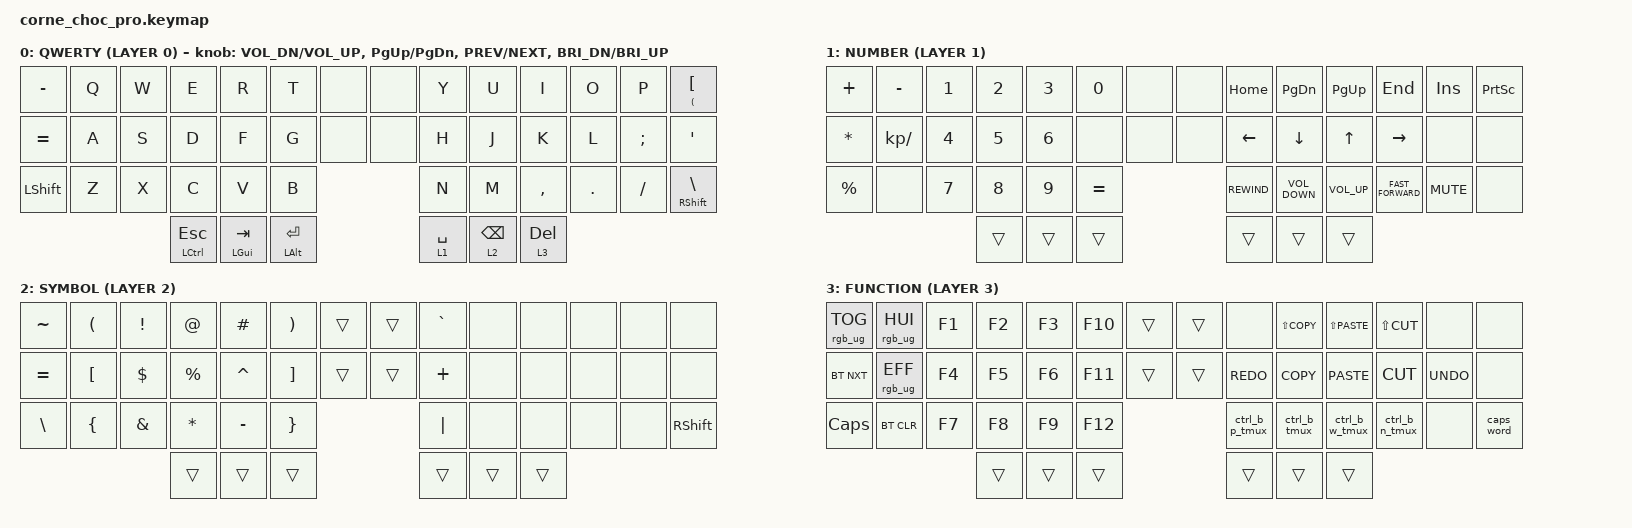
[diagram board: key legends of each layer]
/*
 * Copyright (c) 2020 The ZMK Contributors
 *
 * SPDX-License-Identifier: MIT
 */

#include <behaviors.dtsi>
#include <dt-bindings/zmk/bt.h>
#include <dt-bindings/zmk/keys.h>
#include <dt-bindings/zmk/rgb.h>

/ {
    chosen { zmk,physical-layout = &default_layout; };
};

/ {
    behaviors {
        backspace_delete: backspace_delete {
            compatible = "zmk,behavior-mod-morph";
            label = "BACKSPACE_DELETE";
            bindings = <&kp BACKSPACE>, <&kp DELETE>;

            #binding-cells = <0>;
            mods = <(MOD_LSFT)>;
        };
    };

    macros {
        ctrl_shift_c: ctrl_c {
            compatible = "zmk,behavior-macro";
            #binding-cells = <0>;
            bindings =
                <&macro_press>,
                <&kp LCTRL &kp LEFT_SHIFT &kp C>,
                <&macro_release>,
                <&kp LEFT_CONTROL &kp LEFT_SHIFT &kp C>;

            label = "CTRL_C";
        };

        ctrl_shift_v: ctrl_v {
            compatible = "zmk,behavior-macro";
            #binding-cells = <0>;
            bindings =
                <&macro_press>,
                <&kp LCTRL &kp LEFT_SHIFT &kp V>,
                <&macro_release>,
                <&kp LEFT_CONTROL &kp LEFT_SHIFT &kp V>;

            label = "CTRL_V";
        };

        ctrl_b_tmux: ctrl_b {
            compatible = "zmk,behavior-macro";
            #binding-cells = <0>;
            bindings =
                <&macro_press>,
                <&kp LCTRL &kp B>,
                <&macro_release>,
                <&kp LEFT_CONTROL &kp B>;

            label = "CTRL_B";
        };

        ctrl_b_p_tmux: ctrl_b_p_tmux {
            compatible = "zmk,behavior-macro";
            #binding-cells = <0>;
            bindings =
                <&macro_press>,
                <&kp LCTRL &kp B &kp P>,
                <&macro_release>,
                <&kp LEFT_CONTROL &kp B &kp P>;

            label = "CTRL_B_P_TMUX";
        };

        ctrl_b_n_tmux: ctrl_b_n_tmux {
            compatible = "zmk,behavior-macro";
            #binding-cells = <0>;
            bindings =
                <&macro_press>,
                <&kp LCTRL &kp B &kp N>,
                <&macro_release>,
                <&kp LEFT_CONTROL &kp B &kp N>;

            label = "CTRL_B_N_TMUX";
        };

        ctrl_b_w_tmux: ctrl_b_w_tmux {
            compatible = "zmk,behavior-macro";
            #binding-cells = <0>;
            bindings =
                <&macro_press>,
                <&kp LCTRL &kp B &kp W>,
                <&macro_release>,
                <&kp LEFT_CONTROL &kp B &kp W>;

            label = "CTRL_B_W_TMUX";
        };
    };

    keymap {
        compatible = "zmk,keymap";

        alphabet_layer {
            display-name = "QWERTY (LAYER 0)";

            // --------------------------------------------------------------------------------
            // |  TAB |  Q  |  W  |  E  |  R  |  T  |  MUTE |  PP   |  Y  |  U   |  I  |  O  |  P  | BSPC |
            // | CTRL |  A  |  S  |  D  |  F  |  G  |  LALT |  RALT |  H  |  J   |  K  |  L  |  ;  |  '   |
            // | SHFT |  Z  |  X  |  C  |  V  |  B  |               |  N  |  M   |  ,  |  .  |  /  | ESC  |
            //                    | GUI | LWR | SPC |               | ENT | RSE  | ALT |

            bindings = <
&kp MINUS       &kp Q  &kp W  &kp E                 &kp R             &kp T               &none  &none  &kp Y        &kp U            &kp I         &kp O    &kp P     &mt LEFT_PARENTHESIS LEFT_BRACKET
&kp EQUAL       &kp A  &kp S  &kp D                 &kp F             &kp G               &none  &none  &kp H        &kp J            &kp K         &kp L    &kp SEMI  &kp SQT
&kp LEFT_SHIFT  &kp Z  &kp X  &kp C                 &kp V             &kp B                             &kp N        &kp M            &kp COMMA     &kp DOT  &kp FSLH  &mt RIGHT_SHIFT BACKSLASH
                              &mt LEFT_CONTROL ESC  &mt LEFT_GUI TAB  &mt LEFT_ALT ENTER                &lt 1 SPACE  &lt 2 BACKSPACE  &lt 3 DELETE
            >;

            sensor-bindings = <&inc_dec_kp C_VOL_DN C_VOL_UP &inc_dec_kp PG_UP PG_DN &inc_dec_kp C_PREV C_NEXT &inc_dec_kp C_BRI_DN C_BRI_UP>;
        };

        number_layer {
            display-name = "NUMBER (LAYER 1)";

            // -----------------------------------------------------------------------------------------
            // |  TAB |  1  |  2  |  3  |  4  |  5    |  LCTRL | RCTRL |  6  |  7  |  8  |  9  |  0  | BSPC |
            // | CTRL | BT1 | BT2 | BT3 | BT4 | BT5   |  LALT  | RALT  | LFT | DWN |  UP | RGT |     |      |
            // | SHFT | BTCR| RGB | RST | BOOT| Unlock|        |       |     |     |     |     |     |      |
            //                    | GUI |     | SPC   |        | ENT   |     | ALT |

            bindings = <
&kp PLUS      &kp MINUS     &kp NUMBER_1  &kp NUMBER_2  &kp NUMBER_3  &kp NUMBER_0  &none  &none  &kp HOME      &kp PAGE_DOWN      &kp PAGE_UP      &kp END             &kp INSERT  &kp PRINTSCREEN
&kp ASTERISK  &kp KP_SLASH  &kp NUMBER_4  &kp NUMBER_5  &kp NUMBER_6  &none         &none  &none  &kp LEFT      &kp DOWN           &kp UP           &kp RIGHT           &none       &none
&kp PERCENT   &none         &kp NUMBER_7  &kp NUMBER_8  &kp NUMBER_9  &kp EQUAL                   &kp C_REWIND  &kp C_VOLUME_DOWN  &kp C_VOLUME_UP  &kp C_FAST_FORWARD  &kp K_MUTE  &none
                                          &trans        &trans        &trans                      &trans        &trans             &trans
            >;
        };

        symbol_layer {
            display-name = "SYMBOL (LAYER 2)";
            bindings = <
&kp TILDE      &kp LEFT_PARENTHESIS  &kp EXCLAMATION  &kp AT_SIGN   &kp HASH   &kp RIGHT_PARENTHESIS  &trans  &trans  &kp GRAVE  &none   &none   &none  &none  &none
&kp EQUAL      &kp LEFT_BRACKET      &kp DOLLAR       &kp PERCENT   &kp CARET  &kp RIGHT_BRACKET      &trans  &trans  &kp PLUS   &none   &none   &none  &none  &none
&kp BACKSLASH  &kp LEFT_BRACE        &kp AMPERSAND    &kp ASTERISK  &kp MINUS  &kp RIGHT_BRACE                        &kp PIPE   &none   &none   &none  &none  &kp RSHIFT
                                                      &trans        &trans     &trans                                 &trans     &trans  &trans
            >;
        };

        function_layer {
            display-name = "FUNCTION (LAYER 3)";
            bindings = <
&rgb_ug RGB_TOG  &rgb_ug RGB_HUI  &kp F1  &kp F2  &kp F3  &kp F10  &trans  &trans  &none           &kp LS(K_COPY)  &kp LS(K_PASTE)  &kp LS(K_CUT)   &none       &none
&bt BT_NXT       &rgb_ug RGB_EFF  &kp F4  &kp F5  &kp F6  &kp F11  &trans  &trans  &kp K_REDO      &kp K_COPY      &kp K_PASTE      &kp K_CUT       &kp K_UNDO  &none
&kp CAPSLOCK     &bt BT_CLR       &kp F7  &kp F8  &kp F9  &kp F12                  &ctrl_b_p_tmux  &ctrl_b_tmux    &ctrl_b_w_tmux   &ctrl_b_n_tmux  &none       &caps_word
                                          &trans  &trans  &trans                   &trans          &trans          &trans
            >;
        };
    };
};
